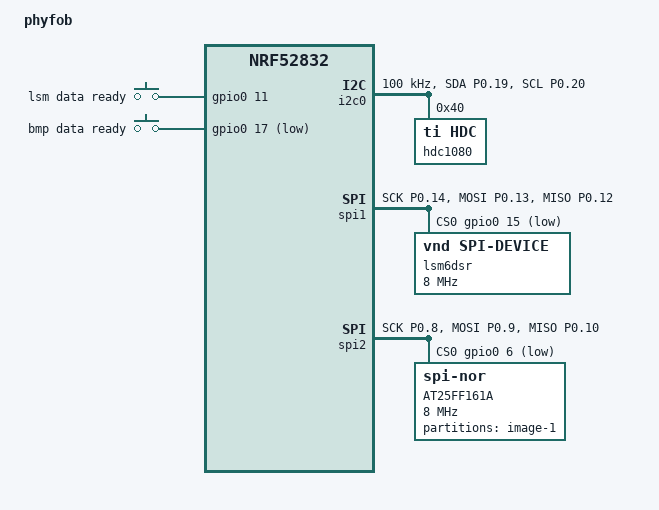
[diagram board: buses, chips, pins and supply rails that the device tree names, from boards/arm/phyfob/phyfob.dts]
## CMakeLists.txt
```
cmake_minimum_required(VERSION 3.20.0)


#list(APPEND ZEPHYR_EXTRA_MODULES "${CMAKE_CURRENT_SOURCE_DIR}/drivers")

find_package(Zephyr REQUIRED HINTS $ENV{ZEPHYR_BASE})


list(APPEND BOARD_ROOT "${PROJECT_SOURCE_DIR}/boards")
#add_subdirectory(drivers)

project(phyfob)
target_sources(app PRIVATE src/event.c)
target_sources(app PRIVATE src/ble.c)
target_sources(app PRIVATE src/hdc.c)
target_sources(app PRIVATE src/bmp5.c)
target_sources(app PRIVATE src/bmpZephyr.c)

target_sources(app PRIVATE src/lsm6dsr.c)
target_sources(app PRIVATE src/lsm6dsr_reg.c)

target_sources(app PRIVATE src/stcc4Zephyr.c)
target_sources(app PRIVATE src/datalog.c)
target_sources(app PRIVATE src/sensirion_i2c.c)
target_sources(app PRIVATE src/stcc4_i2c.c)
target_sources(app PRIVATE src/sensirion_i2c_hal.c)
target_sources(app PRIVATE src/sensirion_common.c)


#target_sources(app PRIVATE src/bas.c)
target_sources(app PRIVATE src/main.c)
```

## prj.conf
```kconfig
CONFIG_NEWLIB_LIBC=y #needed for bmp581 library
#CONFIG_MULTITHREADING=y

CONFIG_SOC_NRF52832_QFAA=y
#CONFIG_SOC_NRF52832_ALLOW_SPIM_DESPITE_PAN_58=y
CONFIG_SOC_SERIES_NRF52X=y

CONFIG_PINCTRL=y

CONFIG_SENSOR=y

#CONFIG_HAS_STLIB=y
CONFIG_NFCT_PINS_AS_GPIOS=y

CONFIG_I2C=y
CONFIG_CBPRINTF_FP_SUPPORT=y

#BLE
CONFIG_BT=y
CONFIG_BT_PERIPHERAL=y

CONFIG_BT_DEVICE_NAME="Keyfob"
CONFIG_BT_DEVICE_NAME_DYNAMIC=y
CONFIG_BT_DEVICE_NAME_MAX=70
CONFIG_BT_CTLR_TX_PWR_PLUS_4=n

#reduce footprint
CONFIG_BT_CTLR_PRIVACY=n
CONFIG_BOOT_BANNER=n
CONFIG_SIZE_OPTIMIZATIONS=y

CONFIG_SPI_NRFX=y
CONFIG_SPI_NOR=y
CONFIG_SPI_NOR_SFDP_DEVICETREE=y
CONFIG_SPI_NOR_FLASH_LAYOUT_PAGE_SIZE=4096
###################

CONFIG_NEWLIB_LIBC_FLOAT_PRINTF=y
CONFIG_NEWLIB_LIBC_NANO=n

CONFIG_SYSTEM_WORKQUEUE_STACK_SIZE=1024
CONFIG_MAIN_STACK_SIZE=2048

CONFIG_POWEROFF=y
CONFIG_HW_STACK_PROTECTION=y
#low power

CONFIG_LOG=n
CONFIG_USE_SEGGER_RTT=n
CONFIG_PRINTK=n
CONFIG_SERIAL=n


###
CONFIG_PM_DEVICE=y
CONFIG_PM_DEVICE_RUNTIME=y
CONFIG_FLASH=y
CONFIG_SPI=y
#CONFIG_FLASH_SPI_NOR=y
CONFIG_BOARD_ENABLE_DCDC=y

CONFIG_CLOCK_CONTROL_NRF_K32SRC_RC=n
CONFIG_CLOCK_CONTROL_NRF_K32SRC_XTAL=y
CONFIG_CLOCK_CONTROL_NRF_K32SRC_SYNTH=n


#FOTA#############
CONFIG_NET_BUF=y
CONFIG_ZCBOR=y
CONFIG_MCUMGR=y
CONFIG_MCUMGR_TRANSPORT_BT=y
CONFIG_MCUMGR_TRANSPORT_BT_CONN_PARAM_CONTROL=y
CONFIG_MCUMGR_GRP_OS_BOOTLOADER_INFO=y
CONFIG_MCUMGR_TRANSPORT_BT_REASSEMBLY=y

# Enable most core commands.
CONFIG_FLASH_MAP=y

# CRC over the datalog settings record kept in the last sector of the
# datalog partition, so a half-written one is not restored as garbage.
CONFIG_CRC=y
CONFIG_STREAM_FLASH=y

CONFIG_IMG_MANAGER=y
CONFIG_MCUMGR_GRP_IMG=y
CONFIG_MCUMGR_GRP_OS=y
#FOTANEW

# Ensure an MCUboot-compatible binary is generated.
CONFIG_BOOTLOADER_MCUBOOT=y

# Allow for large Bluetooth data packets.
CONFIG_BT_L2CAP_TX_MTU=247

CONFIG_BT_L2CAP_TX_BUF_COUNT=6

CONFIG_BT_L2CAP_DYNAMIC_CHANNEL=y

CONFIG_BT_BUF_ACL_RX_SIZE=251

CONFIG_BT_BUF_ACL_TX_SIZE=251
CONFIG_BT_BUF_ACL_TX_COUNT=6

CONFIG_BT_CTLR_RX_BUFFERS=2

CONFIG_BT_CONN_TX_MAX=6

CONFIG_BT_USER_PHY_UPDATE=y
CONFIG_BT_CTLR_PHY_2M=y
CONFIG_BT_USER_DATA_LEN_UPDATE=y
CONFIG_BT_AUTO_DATA_LEN_UPDATE=y
CONFIG_BT_CTLR_DATA_LENGTH_MAX=251

CONFIG_BT_ATT_PREPARE_COUNT=2

# Enable the Bluetooth (unauthenticated) and shell mcumgr transports.
CONFIG_MCUMGR_TRANSPORT_BT_AUTHEN=n


#CONFIG_ISR_STACK_SIZE=1024
CONFIG_MPSL_WORK_STACK_SIZE=1024

CONFIG_BT_LL_SW_SPLIT=n

#CONFIG_BT_LL_SOFTDEVICE=n
CONFIG_ADC=n
CONFIG_ADC_NRFX_SAADC=n
CONFIG_NRFX_SAADC=n
CONFIG_BT_BAS=n
```

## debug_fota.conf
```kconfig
# Diagnostic-only overlay: adds bare RTT printk on top of prj_3v3.conf
# WITHOUT touching MCUMGR/MCUboot (unlike debugging.conf, which intentionally
# disables FOTA). Used to capture logs while reproducing the "SMP service
# unsupported" issue on a build that still has BLE DFU enabled.
# Deliberately skips CONFIG_LOG (too much RAM with MCUMGR already enabled -
# full logging overflowed RAM by 1130 bytes). Plain printk over RTT only.
# Not meant to be a permanent build variant - delete once the bug is found.

CONFIG_CONSOLE=y
CONFIG_PRINTK=y
CONFIG_USE_SEGGER_RTT=y
CONFIG_RTT_CONSOLE=y
CONFIG_SEGGER_RTT_BUFFER_SIZE_UP=1024
CONFIG_SERIAL=n
```

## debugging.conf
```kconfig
#reduce footprint
CONFIG_BOOT_BANNER=y
CONFIG_SIZE_OPTIMIZATIONS=y

#debugging

CONFIG_CONSOLE=y
CONFIG_PRINTK=y
CONFIG_USE_SEGGER_RTT=y
CONFIG_RTT_CONSOLE=y
CONFIG_LOG=y
CONFIG_LOG_BUFFER_SIZE=2948

CONFIG_SEGGER_RTT_BUFFER_SIZE_UP=4096
CONFIG_SPI_NOR_SFDP_RUNTIME=y
CONFIG_LOG_PRINTK=y
#CONFIG_LOG_DEFAULT_LEVEL=3
#CONFIG_DEBUG_OPTIMIZATIONS=y

CONFIG_LOG_BACKEND_RTT=y
CONFIG_LOG_MODE_IMMEDIATE=y


#CONFIG_POWEROFF=y
CONFIG_HW_STACK_PROTECTION=y

###
CONFIG_PM_DEVICE=y
CONFIG_PM_DEVICE_RUNTIME=y

CONFIG_MCUMGR_GRP_IMG=n
CONFIG_MCUMGR_GRP_OS=n
CONFIG_IMG_MANAGER=n

CONFIG_PM_EXTERNAL_FLASH_MCUBOOT_SECONDARY=n
#FOTANEW

# Ensure an MCUboot-compatible binary is generated.
CONFIG_BOOTLOADER_MCUBOOT=n

CONFIG_MCUMGR=n
CONFIG_MCUMGR_TRANSPORT_BT=n
CONFIG_MCUMGR_TRANSPORT_BT_CONN_PARAM_CONTROL=n
CONFIG_MCUMGR_GRP_OS_BOOTLOADER_INFO=n
CONFIG_MCUMGR_TRANSPORT_BT_REASSEMBLY=n
```

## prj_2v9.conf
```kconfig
CONFIG_NEWLIB_LIBC=y #needed for bmp581 library
#CONFIG_MULTITHREADING=y

CONFIG_SOC_NRF52832_QFAA=y
#CONFIG_SOC_NRF52832_ALLOW_SPIM_DESPITE_PAN_58=y
CONFIG_SOC_SERIES_NRF52X=y

CONFIG_PINCTRL=y

CONFIG_SENSOR=y

#CONFIG_HAS_STLIB=y
#CONFIG_NFCT_PINS_AS_GPIOS=y

CONFIG_I2C=y
CONFIG_CBPRINTF_FP_SUPPORT=y

#BLE
CONFIG_BT=y
CONFIG_BT_PERIPHERAL=y

CONFIG_BT_DEVICE_NAME="Keyfob"
CONFIG_BT_DEVICE_NAME_DYNAMIC=y
CONFIG_BT_DEVICE_NAME_MAX=70
CONFIG_BT_CTLR_TX_PWR_PLUS_4=n

#reduce footprint
CONFIG_BT_CTLR_PRIVACY=n
CONFIG_BOOT_BANNER=n
CONFIG_SIZE_OPTIMIZATIONS=y

CONFIG_SPI_NRFX=y
CONFIG_SPI_NOR=y
CONFIG_SPI_NOR_SFDP_DEVICETREE=y
CONFIG_SPI_NOR_FLASH_LAYOUT_PAGE_SIZE=4096
###################

CONFIG_NEWLIB_LIBC_FLOAT_PRINTF=y
CONFIG_NEWLIB_LIBC_NANO=n

CONFIG_SYSTEM_WORKQUEUE_STACK_SIZE=1024
CONFIG_MAIN_STACK_SIZE=2048

CONFIG_POWEROFF=y
CONFIG_HW_STACK_PROTECTION=y
#low power

CONFIG_LOG=n
CONFIG_USE_SEGGER_RTT=n
CONFIG_PRINTK=n
CONFIG_SERIAL=n


###
CONFIG_PM_DEVICE=y
CONFIG_PM_DEVICE_RUNTIME=y
CONFIG_FLASH=y
CONFIG_SPI=y
#CONFIG_FLASH_SPI_NOR=y
CONFIG_BOARD_ENABLE_DCDC=y

CONFIG_CLOCK_CONTROL_NRF_K32SRC_RC=n
CONFIG_CLOCK_CONTROL_NRF_K32SRC_XTAL=y
CONFIG_CLOCK_CONTROL_NRF_K32SRC_SYNTH=n


#FOTA#############
CONFIG_NET_BUF=y
CONFIG_ZCBOR=y
CONFIG_MCUMGR=y
CONFIG_MCUMGR_TRANSPORT_BT=y
CONFIG_MCUMGR_TRANSPORT_BT_CONN_PARAM_CONTROL=y
CONFIG_MCUMGR_GRP_OS_BOOTLOADER_INFO=y
CONFIG_MCUMGR_TRANSPORT_BT_REASSEMBLY=y

# Enable most core commands.
CONFIG_FLASH_MAP=y

# CRC over the datalog settings record kept in the last sector of the
# datalog partition, so a half-written one is not restored as garbage.
CONFIG_CRC=y
CONFIG_STREAM_FLASH=y

CONFIG_IMG_MANAGER=y
CONFIG_MCUMGR_GRP_IMG=y
CONFIG_MCUMGR_GRP_OS=y
#FOTANEW

# Ensure an MCUboot-compatible binary is generated.
CONFIG_BOOTLOADER_MCUBOOT=y

# Allow for large Bluetooth data packets.
CONFIG_BT_L2CAP_TX_MTU=247

CONFIG_BT_L2CAP_TX_BUF_COUNT=6

CONFIG_BT_L2CAP_DYNAMIC_CHANNEL=y

CONFIG_BT_BUF_ACL_RX_SIZE=251

CONFIG_BT_BUF_ACL_TX_SIZE=251
CONFIG_BT_BUF_ACL_TX_COUNT=6

#CONFIG_BT_CTLR_RX_BUFFERS=2
CONFIG_WARN_DEPRECATED=n

CONFIG_BT_CONN_TX_MAX=6

CONFIG_BT_USER_PHY_UPDATE=y
CONFIG_BT_CTLR_PHY_2M=y
CONFIG_BT_USER_DATA_LEN_UPDATE=y
CONFIG_BT_AUTO_DATA_LEN_UPDATE=y
CONFIG_BT_CTLR_DATA_LENGTH_MAX=251

CONFIG_BT_ATT_PREPARE_COUNT=2

# Enable the Bluetooth (unauthenticated) and shell mcumgr transports.
CONFIG_MCUMGR_TRANSPORT_BT_PERM_RW=n


#CONFIG_ISR_STACK_SIZE=1024
CONFIG_MPSL_WORK_STACK_SIZE=1024

CONFIG_BT_LL_SW_SPLIT=n

#CONFIG_BT_LL_SOFTDEVICE=n
CONFIG_ADC=n
CONFIG_ADC_NRFX_SAADC=n
CONFIG_NRFX_SAADC=n
CONFIG_BT_BAS=n
```

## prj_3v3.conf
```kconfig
CONFIG_NEWLIB_LIBC=y #needed for bmp581 library
CONFIG_MULTITHREADING=y

#CONFIG_SOC_NRF52832_ALLOW_SPIM_DESPITE_PAN_58=y

CONFIG_PINCTRL=y

CONFIG_SENSOR=y

#CONFIG_HAS_STLIB=y
CONFIG_NFCT_PINS_AS_GPIOS=y

CONFIG_SPI_NOR_SFDP_RUNTIME=y

CONFIG_I2C=y
CONFIG_CBPRINTF_FP_SUPPORT=y

#BLE
CONFIG_BT=y
CONFIG_BT_PERIPHERAL=y

CONFIG_BT_DEVICE_NAME="phyfob"
CONFIG_BT_DEVICE_NAME_DYNAMIC=y
CONFIG_BT_DEVICE_NAME_MAX=40
CONFIG_BT_CTLR_TX_PWR_PLUS_4=n

#reduce footprint
CONFIG_BT_CTLR_PRIVACY=n
# Both banners have to go. The Zephyr one already depends on !NCS_BOOT_BANNER
# and was therefore never in the build, while the NCS one is default y and
# pulls in PRINTK and EARLY_CONSOLE - which quietly overrode CONFIG_PRINTK=n
# below. The result was that every printk() in this project still ran its full
# formatting in the release build, including the %f conversions in the BMP
# hot path, only to drop the output for lack of a console backend.
CONFIG_BOOT_BANNER=n
CONFIG_NCS_BOOT_BANNER=n
CONFIG_SIZE_OPTIMIZATIONS=y

CONFIG_SPI_NRFX=y
CONFIG_SPI_NOR=y
CONFIG_NORDIC_QSPI_NOR=n
CONFIG_SPI_NOR_SFDP_DEVICETREE=n
CONFIG_SPI_NOR_FLASH_LAYOUT_PAGE_SIZE=4096
###################

CONFIG_NEWLIB_LIBC_FLOAT_PRINTF=y
CONFIG_NEWLIB_LIBC_NANO=n

# Kept at 1024: 2048 was tried while chasing a crash during BMP streaming and
# made no measurable difference, because the crash turned out to be a null work
# handler, not a stack overflow. The spare SRAM is not idle either - with
# newlib it is the malloc heap, which grows into whatever the static
# allocations leave over.
CONFIG_SYSTEM_WORKQUEUE_STACK_SIZE=1024
CONFIG_MAIN_STACK_SIZE=2048

# GATT write callbacks (incl. datalog_configure()/datalog_dump(), which now
# synchronously call into the SPI flash driver and bt_gatt_notify_uuid())
# run on the BT RX thread. The Zephyr default (1024 here) is too tight for
# that call chain, especially in debug builds with -Og.
CONFIG_BT_RX_STACK_SIZE=2048

#CONFIG_POWEROFF=y
CONFIG_HW_STACK_PROTECTION=y

# Without this Zephyr halts on a fatal error and the fob stays dead until the
# battery is pulled - it stops advertising, so it cannot even be updated over
# the air. Rebooting is the far better failure mode for a device in the field.
CONFIG_RESET_ON_FATAL_ERROR=y
#low power

CONFIG_LOG=n
CONFIG_USE_SEGGER_RTT=n
CONFIG_PRINTK=n
CONFIG_SERIAL=n


###
CONFIG_PM_DEVICE=y
CONFIG_PM_DEVICE_RUNTIME=y
CONFIG_FLASH=y
CONFIG_SPI=y
CONFIG_PM_OVERRIDE_EXTERNAL_DRIVER_CHECK=y
#CONFIG_FLASH_SPI_NOR=y
CONFIG_BOARD_ENABLE_DCDC=y

CONFIG_CLOCK_CONTROL_NRF_K32SRC_RC=n
CONFIG_CLOCK_CONTROL_NRF_K32SRC_XTAL=y
CONFIG_CLOCK_CONTROL_NRF_K32SRC_SYNTH=n


#FOTA#############
CONFIG_MCUMGR_TRANSPORT_BT_PERM_RW_AUTHEN=n
CONFIG_NET_BUF=y
CONFIG_ZCBOR=y
CONFIG_MCUMGR=y
CONFIG_MCUMGR_TRANSPORT_BT=y
CONFIG_MCUMGR_TRANSPORT_BT_CONN_PARAM_CONTROL=y
CONFIG_MCUMGR_GRP_OS_BOOTLOADER_INFO=y
CONFIG_MCUMGR_TRANSPORT_BT_REASSEMBLY=y

# Enable most core commands.
CONFIG_STREAM_FLASH=y

CONFIG_IMG_MANAGER=y
CONFIG_MCUMGR_GRP_IMG=y
CONFIG_MCUMGR_GRP_OS=y

CONFIG_PM_EXTERNAL_FLASH_MCUBOOT_SECONDARY=y
#FOTANEW

# Standard BLE Device Information Service (0x180A), so any generic BLE
# client (not just mcumgr-aware tooling) can read the firmware version via
# the standard Firmware Revision String characteristic (0x2A26). Populated
# automatically from the same VERSION file that signs the MCUboot image.
CONFIG_BT_DIS=y
CONFIG_BT_DIS_FW_REV=y
CONFIG_BT_DIS_MANUF_NAME_STR="phyphox:tools"
CONFIG_BT_DIS_MODEL_NUMBER_STR="mini"
# PnP ID would just be a meaningless 0/0/0 placeholder without a real
# registered Vendor ID (Bluetooth SIG or USB-IF) - not worth the clutter.
CONFIG_BT_DIS_PNP=n

# Ensure an MCUboot-compatible binary is generated.
CONFIG_BOOTLOADER_MCUBOOT=y

CONFIG_FLASH_MAP=y

# CRC over the datalog settings record kept in the last sector of the
# datalog partition, so a half-written one is not restored as garbage.
CONFIG_CRC=y

# Allow for large Bluetooth data packets.
CONFIG_BT_L2CAP_TX_MTU=247

CONFIG_BT_L2CAP_TX_BUF_COUNT=10

CONFIG_BT_L2CAP_DYNAMIC_CHANNEL=y

CONFIG_BT_BUF_ACL_RX_SIZE=251

CONFIG_BT_BUF_ACL_TX_SIZE=251
CONFIG_BT_BUF_ACL_TX_COUNT=10

CONFIG_BT_CTLR_RX_BUFFERS=2

CONFIG_BT_CONN_TX_MAX=10

CONFIG_BT_USER_PHY_UPDATE=y
CONFIG_BT_CTLR_PHY_2M=y
CONFIG_BT_USER_DATA_LEN_UPDATE=y
CONFIG_BT_AUTO_DATA_LEN_UPDATE=y
CONFIG_BT_CTLR_DATA_LENGTH_MAX=251

CONFIG_BT_ATT_PREPARE_COUNT=2

# Enable the Bluetooth (unauthenticated) and shell mcumgr transports.
CONFIG_BT=y

#CONFIG_ISR_STACK_SIZE=1024
CONFIG_MPSL_WORK_STACK_SIZE=1024

CONFIG_BT_LL_SW_SPLIT=n

#CONFIG_BT_LL_SOFTDEVICE=n
CONFIG_ADC=n
CONFIG_ADC_NRFX_SAADC=n
CONFIG_NRFX_SAADC=n
CONFIG_BT_BAS=n
```

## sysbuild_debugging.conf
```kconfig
# Full sysbuild configuration for the "debugging" build variant (used via
# -DSB_CONF_FILE, replacing sysbuild.conf entirely -- SB_EXTRA_CONF_FILE
# does not reliably override values already set in the base file).
#
# Partition Manager stays on (needed for the datalog flash partition), but
# no MCUboot bootloader image is built: this variant is flashed directly
# via SWD/RTT for local debugging, not via DFU.
SB_CONFIG_PARTITION_MANAGER=y
SB_CONFIG_BOOTLOADER_MCUBOOT=n
SB_CONFIG_PM_OVERRIDE_EXTERNAL_DRIVER_CHECK=y
```

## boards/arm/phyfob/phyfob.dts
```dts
/*
 * Copyright (c) 2017 Linaro Limited
 *
 * SPDX-License-Identifier: Apache-2.0
 */

 /dts-v1/;
 #include <nordic/nrf52832_qfaa.dtsi>
 
 / {
	 model = "phyfob";
	 compatible = "phyphox,phyfob";
	 aliases {
		i2c = &i2c0;
		spi= &spi1;
		spi2= &spi2;
		hdc = &hdc_node;
	 };
 
	 chosen {
		 zephyr,console = &uart0;
		 zephyr,shell-uart = &uart0;
		 zephyr,uart-mcumgr = &uart0;
		 zephyr,bt-mon-uart = &uart0;
		 zephyr,bt-c2h-uart = &uart0;
		 zephyr,sram = &sram0;
		 zephyr,flash = &flash0;
		 nordic,pm-ext-flash = &at25ff161a;
		 zephyr,code-partition = &slot0_partition;
	 };
 
	 leds {
		 compatible = "gpio-leds";		 
	 };
	buttons {
		compatible = "gpio-keys";
		button0: button_0 { // 
			gpios = <&gpio0 11 (GPIO_ACTIVE_HIGH)>;
			label = "lsm data ready";
		};
		button1: button_1 { // gpio31 P0.27
			gpios = <&gpio0 17 ( GPIO_PULL_UP | GPIO_ACTIVE_LOW)>;
			label = "bmp data ready";
		};
	};
 };

 &pinctrl {
    i2c0_default: i2c0_default {
		group1 {
			psels = <NRF_PSEL(TWIM_SDA, 0, 19)>, <NRF_PSEL(TWIM_SCL, 0, 20)>;
			bias-disable;
		};
		
	};
    i2c0_sleep: i2c0_sleep {
		group1 {
			psels = <NRF_PSEL(TWIM_SDA, 0, 19)>, <NRF_PSEL(TWIM_SCL, 0, 20)>;
			low-power-enable;
		};
		
	};
	spi_master_default: spi_master_default {
		group1 {
			psels = <NRF_PSEL(SPIM_SCK, 0, 14)>,
					<NRF_PSEL(SPIM_MOSI, 0, 13)>,
					<NRF_PSEL(SPIM_MISO, 0, 12)>;
		};
	};
	spi_master_sleep: spi_master_sleep {
		group1 {
			psels = <NRF_PSEL(SPIM_SCK, 0, 14)>,
					<NRF_PSEL(SPIM_MOSI, 0, 13)>,
					<NRF_PSEL(SPIM_MISO, 0, 12)>;
			low-power-enable;
		};
	};
	spi_flash_default: spi_flash_default {
		group1 {
			psels = <NRF_PSEL(SPIM_SCK, 0, 8)>,
					<NRF_PSEL(SPIM_MOSI, 0, 9)>,
					<NRF_PSEL(SPIM_MISO, 0, 10)>;
		};
	};
	spi_flash_sleep: spi_flash_sleep {
		group1 {
			psels = <NRF_PSEL(SPIM_SCK, 0, 8)>,
					<NRF_PSEL(SPIM_MOSI, 0, 9)>,
					<NRF_PSEL(SPIM_MISO, 0, 10)>;
			low-power-enable;
		};
	};		
};

 i2c_0: &i2c0 {
    compatible = "nordic,nrf-twim";
    status = "okay";
    //sda-pin = < 26 >;
    //scl-pin = < 6 >;
	pinctrl-0 = <&i2c0_default>;
	pinctrl-1 = <&i2c0_sleep>;
	pinctrl-names = "default", "sleep";
    label = "i2c";
    clock-frequency = <I2C_BITRATE_STANDARD>;

	hdc_node: hdc1080@40 {
		compatible =  "ti,hdc","ti,hdc1080";
		reg = <0x40>;
		label = "hdc1080";
	};
};

my_spi_master: &spi1 {
	compatible = "nordic,nrf-spi";
	status = "okay";
	pinctrl-0 = <&spi_master_default>;
	pinctrl-1 = <&spi_master_sleep>;
	pinctrl-names = "default", "sleep";
	cs-gpios = <&gpio0 15 ( GPIO_PULL_UP | GPIO_ACTIVE_LOW)>;
	
	lsm6dsr: lsm6dsr@0 {
		status = "okay";
		compatible = "vnd,spi-device";
		reg = <0>;
		spi-max-frequency = < 8000000 >;
	};
	
};

flash_spi_master: &spi2 {
	compatible = "nordic,nrf-spi";
	status = "okay";
	pinctrl-0 = <&spi_flash_default>;
	pinctrl-1 = <&spi_flash_sleep>;
	pinctrl-names = "default", "sleep";
	cs-gpios = <&gpio0 6 ( GPIO_PULL_UP | GPIO_ACTIVE_LOW)>;
	
	at25ff161a: at25ff161a@0 {
		status = "okay";
        compatible = "jedec,spi-nor";
        reg = <0>;
        spi-max-frequency = <8000000>;
        label = "AT25FF161A";
		/*[c2 28 15] [1f 46 08] (mx25)(at25)*/
        jedec-id = [c2 28 15];
        size = <0x1000000>;/* 2 MByte = 16 Mbit (DT "size" is in bits, not bytes) */
		has-dpd;
		t-enter-dpd = <3000>;
		t-exit-dpd = <160000>;
    };
	
	
};
 
 &adc {
	 status = "disabled";
 };
 
 
 &gpiote {
	 status = "okay";
 };
 
 &gpio0 {
	 status = "okay";
	 sense-edge-mask = < 0xffffffff >;
 };
 
 /*
 &gpio1 {
	 status = "okay";
 };
 */
 
 &uart0 {
	 compatible = "nordic,nrf-uarte";
	 status = "disabled";
	 //current-speed = <115200>;
	 //tx-pin = <17>;
	 //rx-pin = <8>;
	 //rts-pin = <5>;
	 //cts-pin = <7>;
 };
 
 &flash0 {
 
	partitions {
		compatible = "fixed-partitions";
		#address-cells = <1>;
		#size-cells = <1>;

		boot_partition: partition@0 {
			label = "mcuboot";
			reg = <0x00000000 0xC000>;
		};
		slot0_partition: partition@c000 {
			label = "image-0";
			reg = <0x0000C000 0x00034000>;
		};
		storage_partition: partition@40000 {
			label = "storage";
			reg = <0x00040000 0x00004000>;
		};
	};
 };
 &at25ff161a {
	partitions {
		compatible = "fixed-partitions";
		#address-cells = <1>;
		#size-cells = <1>;

		slot1_partition: partition@0 {
			label = "image-1";
			reg = <0x00000000 0x00034000>; 
		};

		/* optional weitere Partitionen, z.B. FS, settings */
	};
};

  
```

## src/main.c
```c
#include <zephyr/kernel.h>

#include <zephyr/sys/printk.h>
#include <stddef.h>
#include <zephyr/sys/util.h>
#include <zephyr/types.h>
#include <sys/_types.h>
#include "ble.h"
#include "bmpZephyr.h"
#include "hdc.h"
#include "lsm6dsr.h"
#include "stcc4Zephyr.h"
#include "datalog.h"

#include <zephyr/drivers/gpio.h>
#include <zephyr/drivers/sensor.h>

#include <zephyr/bluetooth/bluetooth.h>
#include <zephyr/bluetooth/uuid.h>
#include <zephyr/bluetooth/gatt.h>

#define sensirion_hal_sleep_us sensirion_i2c_hal_sleep_usec

int main(void)
{
        printk("HELLOWORLD\r\n");

        //init logging
        logging.enable = true;

        init_ble();
        init_hdc();
        init_bmp();
        init_lsm();
        init_stcc4();
        //restores the settings stored in flash; only fall back to the
        //default when this fob has never been configured (or was erased)
        if (!init_datalog()) {
                //default: log CO2, temperature, humidity and pressure every 300s
                datalog_configure(DATALOG_CMD_START,
                                  DATALOG_SENSOR_CO2 | DATALOG_SENSOR_TEMP | DATALOG_SENSOR_HUMIDITY | DATALOG_SENSOR_PRESSURE,
                                  300);
        }
        //init_BAS();

        return 0;
}
```

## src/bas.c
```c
#include "bas.h"

//static const struct adc_dt_spec adc_spec = ADC_DT_SPEC_GET_BY_IDX(DT_PATH(zephyr_user), 0);
//static int16_t sample_buffer;
static int16_t m_sample_buffer[BUFFER_SIZE];

static const struct adc_channel_cfg m_1st_channel_cfg = {
	.gain = ADC_GAIN,
	.reference = ADC_REFERENCE,
	.acquisition_time = ADC_ACQUISITION_TIME,
	.channel_id = ADC_1ST_CHANNEL_ID,
#if defined(CONFIG_ADC_CONFIGURABLE_INPUTS)
	.input_positive = NRF_SAADC_INPUT_VDD,
#endif
};

extern void init_BAS(){
	int err = 0;
	adc_dev = DEVICE_DT_GET(DT_NODELABEL(adc));
	if(adc_dev == NULL){
		printf("issue..\n");
	}
	
	err = adc_channel_setup(adc_dev, &m_1st_channel_cfg);
    if (err) {
	    printk("Error in adc setup: %d\n", err);
	}
	
	const struct adc_sequence sequence = {
		.channels = BIT(ADC_1ST_CHANNEL_ID),
		.buffer = m_sample_buffer,
		.buffer_size = sizeof(m_sample_buffer),
		.resolution = ADC_RESOLUTION,
		.oversampling = 4,
	};

	err = adc_read(adc_dev, &sequence);
	if (err) {
        printk("adc_read() failed with code %d\n", err);
	}
	float val;
	for (int i = 0; i < BUFFER_SIZE; i++) {
                //printk("ADC raw value: %d\n", m_sample_buffer[i]);
				//3.6 is max voltage with internal_ref (0.6V) and 1/6 Gain.
                val = (float)m_sample_buffer[i]*3.6/pow(2,ADC_RESOLUTION);
	}
	printk("val %f \r\n",val);
	k_work_init(&work_bas, update_coincell_level);
	k_timer_init(&timer_bas, time_to_update_battery_service,NULL);
	k_timer_start(&timer_bas,K_SECONDS(1),K_SECONDS(10));
        
}


float getVoltage(){

	int ret;
	const struct adc_sequence sequence = {
		.channels = BIT(ADC_1ST_CHANNEL_ID),
		.buffer = m_sample_buffer,
		.buffer_size = sizeof(m_sample_buffer),
		.resolution = ADC_RESOLUTION,
		.oversampling = 4,
	};

	if (!adc_dev) {
		return -1;
	}

	ret = adc_read(adc_dev, &sequence);
	if (ret) {
        printk("adc_read() failed with code %d\n", ret);
	}
	float val;
	for (int i = 0; i < BUFFER_SIZE; i++) {
                //printk("ADC raw value: %d\n", m_sample_buffer[i]);
				//3.6 is max voltage with internal_ref (0.6V) and 1/6 Gain.
                val = (float)m_sample_buffer[i]*3.6/pow(2,ADC_RESOLUTION);
	}
	battery_level(val);
	printk("val %f \r\n",val);
	return val;
}



void update_coincell_level(struct k_work *work){
	set_coincell_level(battery_level(getVoltage()));
};

void time_to_update_battery_service(){
	printk("timetosubmit\r\n");
	k_work_submit(&work_bas);
}

uint8_t battery_level(float adc_voltage){
	int bat = (uint8_t)(adc_voltage*100/3.1);
	printf("adc: %f bat: %i\n",adc_voltage, bat);
	return bat;
};
```

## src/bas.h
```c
#ifndef _BAS_H /* Include guard */
#define _BAS_H

#include <zephyr/kernel.h>
#include <zephyr/device.h>
#include <zephyr/drivers/adc.h>
#include <hal/nrf_saadc.h>
#include <zephyr/devicetree/io-channels.h>
#include <stdio.h>
#include <math.h>

#define ADC_RESOLUTION     10
#define ADC_GAIN           ADC_GAIN_1_6
#define ADC_REFERENCE      ADC_REF_INTERNAL
#define ADC_ACQUISITION_TIME ADC_ACQ_TIME_DEFAULT

#define ADC_NODE DT_NODELABEL(adc)
#define ADC_CHANNEL 4

#define ADC_1ST_CHANNEL_ID 7
#define ADC_1ST_CHANNEL_INPUT NRF_SAADC_INPUT_AIN7

#define BUFFER_SIZE 1

const static struct device *adc_dev;

extern void init_BAS();
static struct k_timer timer_bas;
static struct k_work work_bas;

void update_coincell_level(struct k_work *work);
float getVoltage();

uint8_t battery_level(float);
void time_to_update_battery_service();

#endif
```

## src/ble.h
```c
#ifndef _BLE_H   /* Include guard */
#define _BLE_H

#include <zephyr/kernel.h>
#include <zephyr/drivers/gpio.h>
#include <zephyr/device.h>
#include <zephyr/bluetooth/bluetooth.h>
#include <zephyr/bluetooth/gap.h>
#include <zephyr/bluetooth/hci.h>
#include <zephyr/bluetooth/conn.h>
#include <zephyr/bluetooth/uuid.h>
#include <zephyr/bluetooth/gatt.h>
#include <zephyr/bluetooth/services/bas.h>
#include <zephyr/sys/byteorder.h>

#include "sensors.h"

#include "hdc.h"
#include "bmpZephyr.h"
#include "lsm6dsr.h"
#include "stcc4Zephyr.h"
#include "event.h"
#include "datalog.h"

#define DEVICE_NAME "phyfob"

#define PHYFOB_CONN_PARAMTER 0x01
#define PHYFOB_CUSTOM_NAME 0x02

extern struct bt_conn *last_connection;

extern uint8_t config_data[20];

void init_ble();

void send_data(uint8_t ID, float* DATA,uint8_t LEN);

/* Swaps the advertising payload to a BTHome v2 packet for a few seconds so
 * that receivers which never connect (Home Assistant and friends) pick up
 * the values. sensor_mask uses the DATALOG_SENSOR_* bits and decides which
 * of the four arguments actually make it into the packet. Does nothing
 * unless bthome_set_enabled(true) was called. */
void bthome_publish(uint8_t sensor_mask, float co2, float temperature,
		    float humidity, float pressure);
/* Driven by DATALOG_CMD_BTHOME on the datalog config characteristic. */
void bthome_set_enabled(bool enable);

//void en_logging(bool b);

extern void set_coincell_level(uint8_t val);
uint8_t phyfob_config_received(struct bt_conn *conn);

extern bool BLE_PARAMETER_UPDATED;

extern bool notify_enabled;
void ccc_cfg_changed(const struct bt_gatt_attr *attr, uint16_t value);

static struct bt_uuid_128 data_service_uuid = BT_UUID_INIT_128(BT_UUID_128_ENCODE(0xcddf1001, 0x30f7, 0x4671, 0x8b43, 0x5e40ba53514a));
static struct bt_uuid_128 event_service_uuid = BT_UUID_INIT_128(BT_UUID_128_ENCODE(0xcddf0001, 0x30f7, 0x4671, 0x8b43, 0x5e40ba53514a));
//BMP
static struct bt_uuid_128 bmp_uuid = BT_UUID_INIT_128(BT_UUID_128_ENCODE(0xcddf1007, 0x30f7, 0x4671, 0x8b43, 0x5e40ba53514a));
static struct bt_uuid_128 bmp_cnfg = BT_UUID_INIT_128(BT_UUID_128_ENCODE(0xcddf1008, 0x30f7, 0x4671, 0x8b43, 0x5e40ba53514a)); 
//LSM
static struct bt_uuid_128 lsm_gyr_uuid = BT_UUID_INIT_128(BT_UUID_128_ENCODE(0xcddf1000, 0x30f7, 0x4671, 0x8b43, 0x5e40ba53514a));
static struct bt_uuid_128 lsm_acc_uuid = BT_UUID_INIT_128(BT_UUID_128_ENCODE(0xcddf1001, 0x30f7, 0x4671, 0x8b43, 0x5e40ba53514a));
static struct bt_uuid_128 lsm_cnfg = BT_UUID_INIT_128(BT_UUID_128_ENCODE(0xcddf1002, 0x30f7, 0x4671, 0x8b43, 0x5e40ba53514a)); 
//HDC
static struct bt_uuid_128 hdc_uuid = BT_UUID_INIT_128(BT_UUID_128_ENCODE(0xcddf1005, 0x30f7, 0x4671, 0x8b43, 0x5e40ba53514a));
static struct bt_uuid_128 hdc_cnfg = BT_UUID_INIT_128(BT_UUID_128_ENCODE(0xcddf1006, 0x30f7, 0x4671, 0x8b43, 0x5e40ba53514a));
//STCC4
static struct bt_uuid_128 stcc4_uuid = BT_UUID_INIT_128(BT_UUID_128_ENCODE(0xcddf100b, 0x30f7, 0x4671, 0x8b43, 0x5e40ba53514a));
static struct bt_uuid_128 stcc4_cnfg = BT_UUID_INIT_128(BT_UUID_128_ENCODE(0xcddf100c, 0x30f7, 0x4671, 0x8b43, 0x5e40ba53514a));

static struct bt_uuid_128 phyfob_cnfg = BT_UUID_INIT_128(BT_UUID_128_ENCODE(0xcddf1022, 0x30f7, 0x4671, 0x8b43, 0x5e40ba53514a));

//DATALOG
static struct bt_uuid_128 datalog_uuid = BT_UUID_INIT_128(BT_UUID_128_ENCODE(0xcddf1010, 0x30f7, 0x4671, 0x8b43, 0x5e40ba53514a));
static struct bt_uuid_128 datalog_cnfg = BT_UUID_INIT_128(BT_UUID_128_ENCODE(0xcddf1011, 0x30f7, 0x4671, 0x8b43, 0x5e40ba53514a));

static struct bt_uuid_128 event_uuid = BT_UUID_INIT_128(BT_UUID_128_ENCODE(0xcddf0004, 0x30f7, 0x4671, 0x8b43, 0x5e40ba53514a)); 


#endif
```

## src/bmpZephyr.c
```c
#include "bmpZephyr.h"
#include "ble.h"

static uint8_t dev_addr;
static struct bmp5_osr_odr_press_config osr_odr_press_cfg = { 0 };

BMP5_INTF_RET_TYPE bmp5_i2c_read(uint8_t reg_addr, uint8_t *reg_data, uint32_t length, void *intf_ptr)
{
    return i2c_burst_read(intf_ptr,BMP581_I2C_ADDR,reg_addr,reg_data,length);
}

BMP5_INTF_RET_TYPE bmp5_i2c_write(uint8_t reg_addr, const uint8_t *reg_data, uint32_t length, void *intf_ptr)
{
    return i2c_burst_write(intf_ptr,BMP581_I2C_ADDR,reg_addr,reg_data,length);
}

void bmp5_delay_us(uint32_t period, void *intf_ptr)
{
    (void)intf_ptr;
    return k_busy_wait(period);
}

void bmp5_error_codes_print_result(const char api_name[], int8_t rslt)
{
    if (rslt != BMP5_OK)
    {
        printk("%s\t", api_name);
        if (rslt == BMP5_E_NULL_PTR)
        {
            printk("Error [%d] : Null pointer\r\n\r", rslt);
        }
        else if (rslt == BMP5_E_COM_FAIL)
        {
            printk("Error [%d] : Communication failure\r\n\r", rslt);
        }
        else if (rslt == BMP5_E_DEV_NOT_FOUND)
        {
            printk("Error [%d] : Device not found\r\n\r", rslt);
        }
        else if (rslt == BMP5_E_INVALID_CHIP_ID)
        {
            printk("Error [%d] : Invalid chip id\r\n\r", rslt);
        }
        else if (rslt == BMP5_E_POWER_UP)
        {
            printk("Error [%d] : Power up error\r\n\r", rslt);
        }
        else if (rslt == BMP5_E_POR_SOFTRESET)
        {
            printk("Error [%d] : Power-on reset/softreset failure\r\n\r", rslt);
        }
        else if (rslt == BMP5_E_INVALID_POWERMODE)
        {
            printk("Error [%d] : Invalid powermode\r\n\r", rslt);
        }
        else
        {
            /* For more error codes refer "*_defs.h" */
            printk("Error [%d] : Unknown error code\r\n\r", rslt);
        }
    }
}

static const struct gpio_dt_spec bmpInt = GPIO_DT_SPEC_GET_OR(BMP_INT, gpios,{0});
static struct gpio_callback bmpInt_cb_data;

/* Given by bmpDataReady() on every DRDY edge, consumed by bmp_read_once() to
 * wait for the actual conversion instead of a fixed guess. */
static struct k_sem bmp_drdy_sem;
/* Set while bmp_read_once() is waiting for its own forced-mode DRDY, so the
 * unrelated live-streaming work item isn't submitted for that same edge. */
static volatile bool bmp_datalog_read_pending;

static void bmpDataReady(const struct device *dev, struct gpio_callback *cb,uint32_t pins)
{
    bmp_data.timestmap = k_uptime_ticks();
	k_sem_give(&bmp_drdy_sem);
	if (!bmp_datalog_read_pending) {
		k_work_submit(&work_bmp);
	}
}

static int8_t set_config(struct bmp5_osr_odr_press_config *osr_odr_press_cfg, struct bmp5_dev *dev)
{
    int8_t rslt;
    struct bmp5_iir_config set_iir_cfg;
    struct bmp5_int_source_select int_source_select;

    rslt = bmp5_set_power_mode(BMP5_POWERMODE_STANDBY, dev);
    bmp5_error_codes_print_result("bmp5_set_power_mode1", rslt);
    /**/
    if (rslt == BMP5_OK)
    {
        /* Get default odr */
        rslt = bmp5_get_osr_odr_press_config(osr_odr_press_cfg, dev);
        bmp5_error_codes_print_result("bmp5_get_osr_odr_press_config", rslt);

        if (rslt == BMP5_OK)
        {
            /* Set ODR as 50Hz */
            osr_odr_press_cfg->odr = BMP5_ODR_0_5_HZ;//irrelevant due to continous mode

            /* Enable pressure */
            osr_odr_press_cfg->press_en = BMP5_ENABLE;

            /* Set Over-sampling rate with respect to odr */
            uint8_t oversampling_t;
            if(*bmp_data.oversampling_p <= BMP5_OVERSAMPLING_16X){
                oversampling_t = BMP5_OVERSAMPLING_1X;
            }else if (*bmp_data.oversampling_p == BMP5_OVERSAMPLING_32X){
                oversampling_t = BMP5_OVERSAMPLING_2X;
            }else if (*bmp_data.oversampling_p == BMP5_OVERSAMPLING_64X){
                oversampling_t = BMP5_OVERSAMPLING_4X;
            }else if (*bmp_data.oversampling_p == BMP5_OVERSAMPLING_128X){
                oversampling_t = BMP5_OVERSAMPLING_8X;
            }else{
                oversampling_t = BMP5_OVERSAMPLING_1X;
            }
            
            osr_odr_press_cfg->osr_t = oversampling_t;
            osr_odr_press_cfg->osr_p = *bmp_data.oversampling_p;

            rslt = bmp5_set_osr_odr_press_config(osr_odr_press_cfg, dev);
            bmp5_error_codes_print_result("bmp5_set_osr_odr_press_config", rslt);
        }

        if (rslt == BMP5_OK)
        {
            set_iir_cfg.set_iir_t = BMP5_IIR_FILTER_COEFF_1;
            set_iir_cfg.set_iir_p = *bmp_data.iir;
            set_iir_cfg.shdw_set_iir_t = BMP5_ENABLE;
            set_iir_cfg.shdw_set_iir_p = BMP5_ENABLE;

            rslt = bmp5_set_iir_config(&set_iir_cfg, dev);
            bmp5_error_codes_print_result("bmp5_set_iir_config", rslt);
        }

        if (rslt == BMP5_OK)
        {
            rslt = bmp5_configure_interrupt(BMP5_INT_MODE_PULSED, BMP5_INT_POL_ACTIVE_LOW , BMP5_INTR_OPEN_DRAIN, BMP5_INTR_ENABLE, dev);
            bmp5_error_codes_print_result("bmp5_configure_interrupt", rslt);

            if (rslt == BMP5_OK)
            {
                /* Note : Select INT_SOURCE after configuring interrupt */
                int_source_select.drdy_en = BMP5_ENABLE;
                rslt = bmp5_int_source_select(&int_source_select, dev);
                bmp5_error_codes_print_result("bmp5_int_source_select", rslt);
            }
        }

        /* Set powermode as normal */
       // rslt = bmp5_set_power_mode(BMP5_POWERMODE_NORMAL, dev);
        //bmp5_error_codes_print_result("bmp5_set_power_mode", rslt);

        rslt = bmp5_set_power_mode(BMP5_POWERMODE_DEEP_STANDBY, dev);
    }

    return rslt;
}

static int8_t get_sensor_data(const struct bmp5_osr_odr_press_config *osr_odr_press_cfg, struct bmp5_dev *dev)
{
    int8_t rslt = 0;
    uint8_t int_status;
    struct bmp5_sensor_data sensor_data;


    rslt = bmp5_get_interrupt_status(&int_status, dev);
    bmp5_error_codes_print_result("bmp5_get_interrupt_status", rslt);

    if (int_status & BMP5_INT_ASSERTED_DRDY)
    {
        rslt = bmp5_get_sensor_data(&sensor_data, osr_odr_press_cfg, dev);
        bmp5_error_codes_print_result("bmp5_get_sensor_data", rslt);

        if (rslt == BMP5_OK)
        {
#ifdef BMP5_USE_FIXED_POINT
            printf("%lu, %ld\n\r", (long unsigned int)sensor_data.pressure,
                    (long int)sensor_data.temperature);
#else
            //printf("%f, %f\n\r", sensor_data.pressure, sensor_data.temperature);
#endif
        bmp_data.pressure = sensor_data.pressure/100.0;
        bmp_data.temperature = sensor_data.temperature;
        }
    }
    

    return rslt;
}

static void start_logging(){
    memset(LOG.data,NULL,176*LOG_MULTIPLIER);
    LOG.write_to_position=0;
    LOG.logging_start = k_uptime_ticks()/32768.0;
    LOG.last_save=0;
    bmp_data.logging = true;
}
/* Synchronous single-shot read for the datalog module: trigger a forced-
 * mode conversion and wait for the sensor's own DRDY interrupt instead of a
 * fixed guessed delay - this adapts automatically to whatever the actual
 * oversampling setting requires and never reads stale data if a conversion
 * happens to take longer than expected. The timeout is just a safety net in
 * case the interrupt is ever missed. Called right at datalog-tick time so
 * the logged value is as fresh as possible, instead of relying on a
 * separately-timed background sample that may be stale by up to a full
 * interval. */
extern void bmp_read_once(float *pressure, float *temperature){
    k_sem_reset(&bmp_drdy_sem);
    bmp_datalog_read_pending = true;

    int8_t rslt = bmp5_set_power_mode(BMP5_POWERMODE_FORCED, &bmp581_dev);
    bmp5_error_codes_print_result("bmp_read_once set_power_mode", rslt);

    if (k_sem_take(&bmp_drdy_sem, K_MSEC(50)) != 0) {
        printk("bmp: datalog read timed out waiting for DRDY\r\n");
    }
    bmp_datalog_read_pending = false;

    uint8_t result = get_sensor_data(&osr_odr_press_cfg, &bmp581_dev);
    bmp5_error_codes_print_result("bmp_read_once get_sensor_data", result);
    bmp5_set_power_mode(BMP5_POWERMODE_DEEP_STANDBY, &bmp581_dev);

    printk("bmp: datalog read pressure=%f hPa temperature=%f C\r\n",
           bmp_data.pressure, bmp_data.temperature);
    if(pressure){
        *pressure = bmp_data.pressure;
    }
    if(temperature){
        *temperature = bmp_data.temperature;
    }
}

extern void send_data_bmp(struct k_work *work){
    /* Take the edge time BEFORE the I2C read. At ~500 Hz a read on the
     * 100 kHz bus takes about half a sample period, so the next DRDY edge
     * regularly lands in the middle of it. Reading bmp_data.timestmap
     * afterwards would stamp this sample with that newer edge - and the
     * extra work run which that edge queued then writes the very same
     * value again. Measured on a phyphox:mini: 0.33 % of all samples
     * carried a duplicate timestamp this way, always inside one packet.
     * irq_lock() also keeps the 64 bit value from being read half old and
     * half new on this 32 bit core. */
    unsigned int key = irq_lock();
    int64_t sample_ticks = bmp_data.timestmap;
    irq_unlock(key);

    uint8_t result = get_sensor_data(&osr_odr_press_cfg, &bmp581_dev);
    bmp5_error_codes_print_result("get_sensor_data", result);
    /* Hot path: runs ~500 times per second on the system workqueue stack,
     * and formatting two %f with newlib costs both CPU time and a lot of
     * stack. CONFIG_PRINTK ends up enabled even in the release build -
     * NCS_BOOT_BANNER selects it - so without a guard the formatting is
     * done and the result then dropped for lack of a console backend. */
    if(DEBUG){
        printk("bmp: new reading pressure=%f hPa temperature=%f C\r\n",
               bmp_data.pressure, bmp_data.temperature);
    }

    if(bmp_data.logging){
        float currentime = sample_ticks/32768.0;
        printk("currently in logging mode, store data! seconds: %f\r\n",currentime);
        
        //skip if we are under x seconds since last save
        if(currentime-LOG.last_save>=6*60){
            printk("current storage position: %i\r\n",LOG.write_to_position);

            memcpy(&LOG.data[LOG.write_to_position+0],&bmp_data.pressure,4);
            memcpy(&LOG.data[LOG.write_to_position+4],&bmp_data.temperature,4);
            LOG.write_to_position+=8;
            LOG.last_save = currentime;
            //start at beginning
            if(LOG.write_to_position == LOG_MULTIPLIER*176){
                start_logging();
            } 
        }
        
    }
    if(bmp_data.live){

        bmp_data.array[0+bmp_data.current_event*3]=bmp_data.pressure;
        bmp_data.array[1+bmp_data.current_event*3]=bmp_data.temperature;
        bmp_data.array[2+bmp_data.current_event*3]=(sample_ticks/32768.0)-global_timestamp;

        bmp_data.current_event++;
        if(bmp_data.current_event == bmp_data.max_events){
            send_data(SENSOR_BMP581_ID, &bmp_data.array, bmp_data.max_events*3*4);   
            bmp_data.current_event=0;
        }
    }
}



extern int8_t init_bmp(){
    int8_t rslt = BMP5_OK;
    int16_t result;
    
    bmp_data.current_event=0;
    bmp_data.max_events=1;
    bmp_data.logging = false;
    bmp_data.live = false;

    k_sem_init(&bmp_drdy_sem, 0, 1);

    /* Point config fields at sane defaults before the first set_config()
     * call below, which dereferences them; otherwise (until the BLE config
     * characteristic is written at least once via submit_config_bmp()) they
     * are NULL. */
    bmp_data.enable = &bmp_data.config[0];
    bmp_data.oversampling_p = &bmp_data.config[1];
    bmp_data.iir = &bmp_data.config[2];
    bmp_data.config[0] = 1;
    bmp_data.config[1] = BMP5_OVERSAMPLING_1X;
    bmp_data.config[2] = BMP5_IIR_FILTER_COEFF_1;

    dev_addr = BMP5_I2C_ADDR_PRIM;
    bmp581_dev.read = bmp5_i2c_read;
    bmp581_dev.write = bmp5_i2c_write;
    bmp581_dev.intf = BMP5_I2C_INTF;
    bmp581_dev.intf_ptr = bmp_dev;
    bmp581_dev.chip_id = BMP5_CHIP_ID_PRIM;
    bmp581_dev.delay_us = bmp5_delay_us;
    bmp581_dev.intf_rslt = result;
    rslt = bmp5_soft_reset(&bmp581_dev);
    printk("bmp soft_reset %i\n\r",rslt);
    k_sleep(K_MSEC(150));
    //bmp5_error_codes_print_result("bmp5 init",rslt);
    rslt = bmp5_init(&bmp581_dev);
    //bmp5_error_codes_print_result("bmp5 init",rslt);
    //return rslt;
    rslt = set_config(&osr_odr_press_cfg, &bmp581_dev);
    bmp5_error_codes_print_result("set_config", rslt);
    //k_sleep(K_MSEC(150));
    //rslt = get_sensor_data(&osr_odr_press_cfg, &bmp581_dev);
    //bmp5_error_codes_print_result("get_sensor_data", rslt);
    
    k_work_init(&work_bmp, send_data_bmp);
	//k_work_init(&config_work_bmp, set_config_bmp);

    if (!device_is_ready(bmpInt.port)) {
		printk("Error: bmp interrupt %s is not ready\n\r",
		       bmpInt.port->name);
		return 1;
	}
    
	rslt = gpio_pin_configure_dt(&bmpInt, GPIO_INPUT);
	if (rslt != 0) {
		printk("Error %d: failed to configure %s pin %d\n\r",
		       rslt, bmpInt.port->name, bmpInt.pin);
		return rslt;
	}
    
	rslt = gpio_pin_interrupt_configure_dt(&bmpInt,GPIO_INT_EDGE_FALLING);
	if (rslt != 0) {
		printk("Error %d: failed to configure interrupt on %s pin %d\n\r",
			rslt, bmpInt.port->name, bmpInt.pin);
		return rslt;
	}
    
	gpio_init_callback(&bmpInt_cb_data, bmpDataReady, BIT(bmpInt.pin));
	gpio_add_callback(bmpInt.port, &bmpInt_cb_data);
    return rslt;
}

extern uint8_t sleep_bmp(bool SLEEP){
    uint8_t rslt;
    if(SLEEP){
        rslt = bmp5_set_power_mode(BMP5_POWERMODE_DEEP_STANDBY, &bmp581_dev);
    }else{
        if(bmp_data.logging == true && bmp_data.live == false){
            rslt = bmp5_set_power_mode(BMP5_POWERMODE_NORMAL, &bmp581_dev);
        }else{
            rslt = bmp5_set_power_mode(BMP5_POWERMODE_CONTINOUS, &bmp581_dev);
        }
    }
    return rslt;
}

extern uint8_t bmp_loggingmode(){
    //TODO
    uint8_t rslt = bmp5_set_power_mode(BMP5_POWERMODE_DEEP_STANDBY, &bmp581_dev);
    *bmp_data.oversampling_p = 0x04;
    *bmp_data.iir = 0x01;
    osr_odr_press_cfg.osr_p=*bmp_data.oversampling_p;
    set_config(&osr_odr_press_cfg, &bmp581_dev);
    sleep_bmp(false);
    return rslt;
}

void submit_config_bmp(){
    printk("bmp config received\r\n");

    if(bmp_data.config[0]==4){
        //just send logged data!
        uint16_t datasize = LOG.write_to_position;

        printk("datasize: %i \r\n",datasize);
        uint16_t full_packages = datasize/176;
        uint16_t rest_data = datasize%176;
        printk("full_packages: %i rest: %i\r\n",full_packages,rest_data);
        float time_delta = -1*(global_timestamp-LOG.logging_start);
        printk("time_delta: %f\r\n",time_delta);
        uint8_t package_buffer[180];
        for(uint16_t data_package =0; data_package<full_packages;data_package++){
            memcpy(&package_buffer[0],&time_delta,4);
            memcpy(&package_buffer[0]+4,&LOG.data[0]+data_package*176,176);
            send_data(SENSOR_BMP581_ID, &package_buffer[0], 180);
            k_sleep(K_MSEC(100));
        }
        memcpy(&package_buffer[0],&time_delta,4);
        memcpy(&package_buffer[0]+4,&LOG.data[0]+176*full_packages,rest_data);
        send_data(SENSOR_BMP581_ID, &package_buffer[0], rest_data+4);
        printk("logging data transfered\r\n");
        return;
    }

    sleep_bmp(true);
    
    if(DEBUG){
        /*
        0=sleep;
        1=enable
        2=start logging
        3= get logging data
        */
        
        printk("enable: %d \n",*bmp_data.enable);
        printk("oversampling: %d \n",*bmp_data.oversampling_p);
        printk("iir: %d \n",*bmp_data.iir);
    }
    
    if(bmp_data.config[0]==3){
        start_logging();
    }
    if(bmp_data.config[0]==1){
        bmp_data.live = true;
    }
    //auto adjust the number of data packages to ensure data is transmitted fast enough (and feels as live data at low rate)
    switch (*bmp_data.oversampling_p)
    {
        case BMP5_OVERSAMPLING_16X:
            bmp_data.max_events = 2;
            break;
        case BMP5_OVERSAMPLING_8X:
            bmp_data.max_events = 3;
            break;
        case BMP5_OVERSAMPLING_4X:
            bmp_data.max_events = 4;
            break;
        case BMP5_OVERSAMPLING_2X:
            bmp_data.max_events = 6;
            break;
        case BMP5_OVERSAMPLING_1X:
            bmp_data.max_events = 10;
            break;                
        default:
            bmp_data.max_events = 1;
            break;
    }
    
    bmp_data.enable = &bmp_data.config[0];
    bmp_data.oversampling_p = &bmp_data.config[1];
    bmp_data.iir = &bmp_data.config[2];
    osr_odr_press_cfg.osr_p= *bmp_data.oversampling_p;
    
    bmp_data.current_event=0;
    
    set_config(&osr_odr_press_cfg, &bmp581_dev);

    if(bmp_data.config[0]==0){
        sleep_bmp(true);
    }else{
        sleep_bmp(false);
    }
    printk("started bmp\r\n");
}
```

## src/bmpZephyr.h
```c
#ifndef _BMPZEPHYR_H
#define _BMPZEPHYR_H

#include <zephyr/kernel.h>
#include <stdint.h>
#include "bmp5.h"
#include "bmp5_defs.h"
#include <zephyr/drivers/i2c.h>
#include <zephyr/drivers/gpio.h>
#include <zephyr/drivers/sensor.h>

#include "sensors.h"


const static struct device *bmp_dev = DEVICE_DT_GET(DT_ALIAS(i2c));

static struct sensor_value bmp_press, bmp_temp;

#define BMP_INT DT_NODELABEL(button1)

static struct k_work work_bmp;
static struct k_work config_work_bmp;

extern int8_t init_bmp();
extern void submit_config_bmp();
extern uint8_t sleep_bmp(bool SLEEP);
extern uint8_t bmp_loggingmode();
extern void bmp_read_once(float *pressure, float *temperature);

static void start_logging();

// ----------------
// Driver variables
// ----------------
#define BMP5_SENSOR_OK 0x00
#define BMP581_I2C_ADDR	BMP5_I2C_ADDR_PRIM
static int8_t bmpResult;
static uint8_t dByte;


static struct bmp5_dev bmp581_dev;
//static struct bmp5_data myData;

static int16_t counter=0;

#endif
```

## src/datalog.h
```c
#ifndef _DATALOG_H
#define _DATALOG_H

#include <zephyr/kernel.h>
#include <stdbool.h>
#include <stdint.h>

#define DATALOG_CMD_STOP   0x00
#define DATALOG_CMD_START  0x01
#define DATALOG_CMD_DUMP   0x02
#define DATALOG_CMD_ERASE  0x03
#define DATALOG_CMD_BTHOME 0x04

#define DATALOG_SENSOR_CO2      0x01
#define DATALOG_SENSOR_TEMP     0x02
#define DATALOG_SENSOR_HUMIDITY 0x04
#define DATALOG_SENSOR_PRESSURE 0x08

/* Restores the settings persisted in flash (sensor mask, interval, whether
 * logging was running, BTHome advertising) and resumes logging if it was
 * active, so a battery change does not lose the user's configuration.
 * Returns false if nothing was stored yet (or the flash area is
 * unusable), in which case the caller decides on a default. */
bool init_datalog(void);
/* sensors_mask is only used by DATALOG_CMD_START. The third parameter is
 * reused for three different purposes depending on cmd:
 * - DATALOG_CMD_START: logging interval in seconds.
 * - DATALOG_CMD_DUMP: maximum age of records to send, in minutes
 *   (0 = no limit, send the whole log).
 * - DATALOG_CMD_BTHOME: 0 disables the BTHome advertising bursts, anything
 *   else enables them. Like the sensor mask and the interval, the setting
 *   is persisted and restored on the next boot.
 * Ignored for DATALOG_CMD_STOP/DATALOG_CMD_ERASE. */
void datalog_configure(uint8_t cmd, uint8_t sensors_mask, uint16_t interval_s);

/* The settings currently in effect - which, after a reboot, are the ones
 * restored from flash rather than any the app has sent this session. */
struct datalog_state {
    bool running;
    uint8_t mask;
    uint16_t interval_s;
    bool bthome;
};

/* Lets the app find out what the fob is actually logging, e.g. to show the
 * configuration that survived a battery change instead of a blank form. */
void datalog_get_state(struct datalog_state *state);

#endif
```

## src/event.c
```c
#include "event.h"

bool RESETTED = true;

extern void phyphox_event_received(){
    printk("PHYPHOX EVENTHANDLER\r\n");
    /*
    00: Pause
    01: Play
    02: Clear
    FF: Sync
    */

    if(event_data.config[0]==0x01 && RESETTED){
        global_timestamp = k_uptime_ticks()/32768.0;
        RESETTED=false;
        
        /* room for improvement*/
        bmp_data.current_event = 0;
        lsm_data.event_number = 0;
        event_data.RUNNING = true;
        printk("global reset\r\n");
    }
    if(event_data.config[0]==0x02){
        RESETTED=true;
        event_data.RUNNING = false;
        //bmp_data.current_event = 0;
        //lsm_data.event_number = 0;
    }
};
```

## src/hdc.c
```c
#include "hdc.h"
//HDC hdc_data;

extern bool init_hdc()
{
    /* Register the work items and the timer before anything can fail.
     * They only store function pointers, no hardware is touched. If the
     * sensor does not answer we still leave this function early, but a
     * later configuration write then finds an initialised work item
     * instead of queueing a NULL handler and faulting the whole fob. */
    k_work_init(&work_hdc, send_data_hdc);
	k_work_init(&config_work_hdc, set_config_hdc);
    k_timer_init(&timer_hdc, hdc_data_ready, NULL);

    if(!device_is_ready(hdc_dev)){
        printk("Device not ready or not found");
        return false;
    }
    /* The datalog module now triggers every sensor's measurement directly
     * (see datalog_tick()) at its own configured interval, so this legacy
     * independently-timed background timer must stay stopped - starting it
     * here (as sleep_hdc(!logging.enable) used to, since logging.enable is
     * true at boot) caused a redundant real sensor read every 60s on top of
     * the datalog interval. */
    sleep_hdc(true);

    return true;
}

extern void sleep_hdc(bool sleep) 
{
    if (sleep) {
        k_timer_stop(&timer_hdc);
    }
    else{
        k_timer_start(&timer_hdc, K_MSEC(hdc_data.timer_interval), K_MSEC(hdc_data.timer_interval));
    }
}

/* Synchronous single-shot read for the datalog module: sensor_sample_fetch()
 * already blocks until the measurement is ready, so this is called directly
 * at datalog-tick time instead of relying on hdc's own independently-timed
 * background sample, which could be up to a full interval stale. */
void hdc_read_once(float *temperature, float *humidity)
{
    sensor_sample_fetch(hdc_dev);
    sensor_channel_get(hdc_dev, SENSOR_CHAN_AMBIENT_TEMP, &hdc_temp);
    sensor_channel_get(hdc_dev, SENSOR_CHAN_HUMIDITY, &hdc_humid);

    hdc_data.temperature = sensor_value_to_float(&hdc_temp);
    hdc_data.humidity = sensor_value_to_float(&hdc_humid);

    printk("hdc: datalog read temperature=%f C humidity=%f %%\r\n",
           hdc_data.temperature, hdc_data.humidity);
    if(temperature){
        *temperature = hdc_data.temperature;
    }
    if(humidity){
        *humidity = hdc_data.humidity;
    }
}

void hdc_data_ready()
{
    hdc_data.timestamp = k_uptime_ticks();
	k_work_submit(&work_hdc);
}

void send_data_hdc(struct k_work *work)
{
    sensor_sample_fetch(hdc_dev);
    sensor_channel_get(hdc_dev, SENSOR_CHAN_AMBIENT_TEMP, &hdc_temp);
    sensor_channel_get(hdc_dev, SENSOR_CHAN_HUMIDITY, &hdc_humid);
    
    hdc_data.temperature = sensor_value_to_float(&hdc_temp);
    hdc_data.humidity = sensor_value_to_float(&hdc_humid);

    if(logging.enable){
        printk("hdc: new reading temperature=%f C humidity=%f %%\r\n",
               hdc_data.temperature, hdc_data.humidity);
        stcc4_compensate(hdc_data.temperature,hdc_data.humidity);
        return;
    }

    hdc_data.array[0] = hdc_data.temperature;
    hdc_data.array[1] = hdc_data.humidity;
    hdc_data.array[2] = (hdc_data.timestamp/32768.0)-global_timestamp;

    
    send_data(SENSOR_HDC_ID, &hdc_data.array, 4*3);
}

void set_config_hdc(struct k_work *work)
{
    sleep_hdc(true);
    hdc_data.timer_interval = hdc_data.config[1]*100;
    printk("hdc config received \n");
    printk("hdc interval: %i\n",hdc_data.timer_interval);
    //Ensure minimum of 30ms
    if (hdc_data.timer_interval < 300) {hdc_data.timer_interval = 300;}
    sleep_hdc(!hdc_data.config[0]);
}

extern void submit_config_hdc()
{	
    k_work_submit(&config_work_hdc);
}
```
